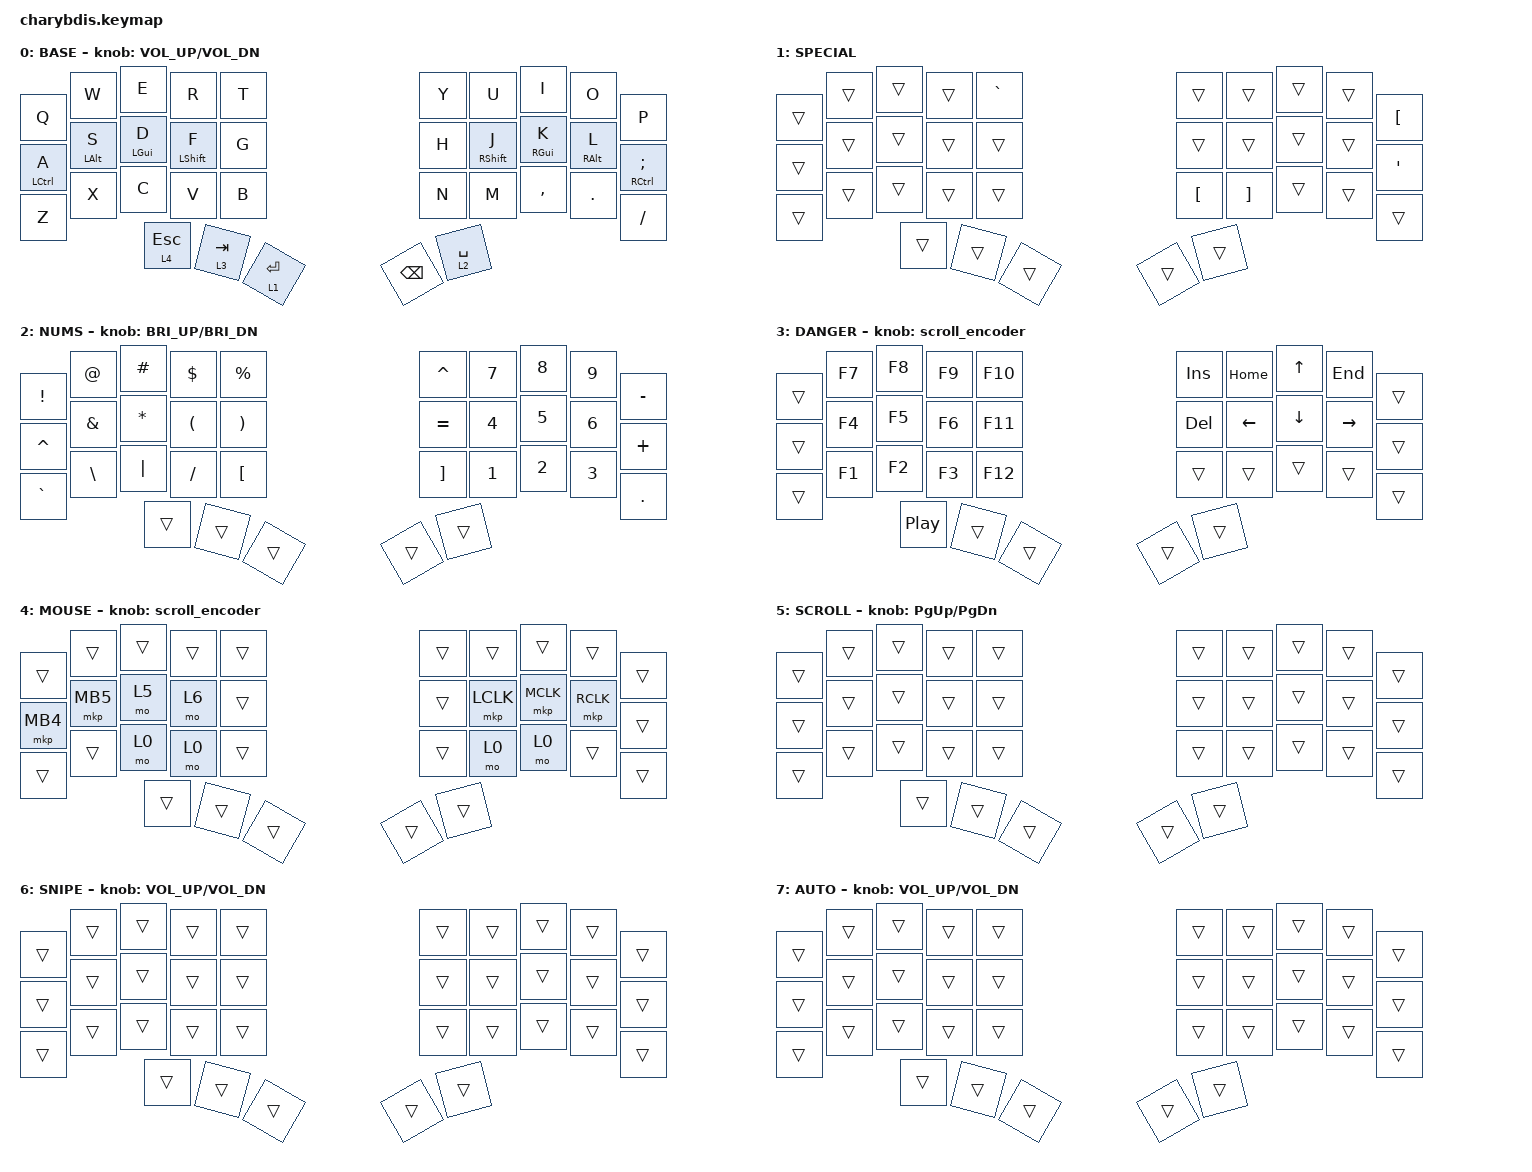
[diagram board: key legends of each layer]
#include <behaviors.dtsi>

#include <dt-bindings/zmk/bt.h>
#include <dt-bindings/zmk/keys.h>

#define ZMK_POINTING_DEFAULT_SCRL_VAL 150
#include <dt-bindings/zmk/pointing.h>

#include <dt-bindings/zmk/ext_power.h>
#include <dt-bindings/zmk/outputs.h>

#include "layers.h"

#include "behaviors.dtsi"
#include "zmk-helpers/key-labels/34.h"                                      // key-position labels
#include "combos.dtsi"

&lt {
    tapping-term-ms = <160>; // hold time before a layer-tap activates the layer instead of sending the tap key
};

/ {
    
    keymap {
        compatible = "zmk,keymap";

        BASE {
            display-name = "BASE";
            bindings = <
  &kp Q          &kp W         &kp E         &kp R          &kp T          &kp Y        &kp U          &kp I         &kp O         &kp P
  &hm_l LCTRL A  &hm_l LALT S  &hm_l LGUI D  &hm_l LSHFT F  &kp G          &kp H        &hm_r RSHFT J  &hm_r RGUI K  &hm_r RALT L  &hm_r RCTRL SEMI
  &kp Z          &kp X         &kp C         &kp V          &kp B          &kp N        &kp M          &kp COMMA     &kp DOT       &kp SLASH
                               &lt 4 ESCAPE  &lt 3 TAB      &lt 1 ENTER    &kp BACKSPACE &lt 2 SPACE
            >;

            sensor-bindings = <&inc_dec_kp C_VOL_UP C_VOL_DN>;
        };

        SPECIAL {
            bindings = <
  &trans  &trans  &trans  &trans  &kp GRAVE    &trans            &trans             &trans  &trans  &kp LEFT_BRACKET
  &trans  &trans  &trans  &trans  &trans       &trans            &trans             &trans  &trans  &kp SQT
  &trans  &trans  &trans  &trans  &trans       &kp LEFT_BRACKET  &kp RIGHT_BRACKET  &trans  &trans  &trans
                  &trans  &trans  &trans       &trans            &trans
            >;

            label = "SPECIAL";
        };

        NUMS {
            display-name = "NUMS";
            bindings = <
  &kp EXCL   &kp AT         &kp HASH      &kp DLLR              &kp PRCNT                &kp CARET          &kp NUMBER_7  &kp NUMBER_8  &kp NUMBER_9  &kp MINUS
  &kp CARET  &kp AMPERSAND  &kp ASTERISK  &kp LEFT_PARENTHESIS  &kp RIGHT_PARENTHESIS    &kp EQUAL          &kp NUMBER_4  &kp NUMBER_5  &kp NUMBER_6  &kp PLUS
  &kp GRAVE  &kp BACKSLASH  &kp PIPE      &kp SLASH             &kp LEFT_BRACKET         &kp RIGHT_BRACKET  &kp NUMBER_1  &kp NUMBER_2  &kp NUMBER_3  &kp PERIOD
                            &trans        &trans                &trans                   &trans             &trans
            >;

            sensor-bindings = <&inc_dec_kp C_BRI_UP C_BRI_DN>;
        };

        DANGER {
            display-name = "DANGER";
            bindings = <
  &trans  &kp F7  &kp F8    &kp F9  &kp F10    &kp INSERT  &kp HOME        &kp UP_ARROW  &kp END    &trans
  &trans  &kp F4  &kp F5    &kp F6  &kp F11    &kp DEL     &kp LEFT_ARROW  &kp DOWN      &kp RIGHT  &trans
  &trans  &kp F1  &kp F2    &kp F3  &kp F12    &trans      &trans          &trans        &trans     &trans
                  &kp C_PP  &trans  &trans     &trans      &trans
            >;

            sensor-bindings = <&scroll_encoder>;
        };

        MOUSE {
            display-name = "MOUSE";
            bindings = <
  &trans    &trans    &trans  &trans  &trans    &trans  &trans     &trans     &trans     &trans
  &mkp MB4  &mkp MB5  &mo 5   &mo 6   &trans    &trans  &mkp LCLK  &mkp MCLK  &mkp RCLK  &trans
  &trans    &trans    &mo 0   &mo 0   &trans    &trans  &mo 0      &mo 0      &trans     &trans
                      &trans  &trans  &trans    &trans  &trans
            >;

            sensor-bindings = <&scroll_encoder>;
        };

        SCROLL {
            display-name = "SCROLL";
            bindings = <
  &trans  &trans  &trans  &trans  &trans    &trans  &trans  &trans  &trans  &trans
  &trans  &trans  &trans  &trans  &trans    &trans  &trans  &trans  &trans  &trans
  &trans  &trans  &trans  &trans  &trans    &trans  &trans  &trans  &trans  &trans
                  &trans  &trans  &trans    &trans  &trans
            >;

            sensor-bindings = <&inc_dec_kp PG_UP PG_DN>;
        };

        SNIPE {
            display-name = "SNIPE";
            bindings = <
  &trans  &trans  &trans  &trans  &trans    &trans  &trans  &trans  &trans  &trans
  &trans  &trans  &trans  &trans  &trans    &trans  &trans  &trans  &trans  &trans
  &trans  &trans  &trans  &trans  &trans    &trans  &trans  &trans  &trans  &trans
                  &trans  &trans  &trans    &trans  &trans
            >;

            sensor-bindings = <&inc_dec_kp C_VOL_UP C_VOL_DN>;
        };

        AUTO {
            display-name = "AUTO";
            bindings = <
  &trans  &trans  &trans  &trans  &trans    &trans  &trans  &trans  &trans  &trans
  &trans  &trans  &trans  &trans  &trans    &trans  &trans  &trans  &trans  &trans
  &trans  &trans  &trans  &trans  &trans    &trans  &trans  &trans  &trans  &trans
                  &trans  &trans  &trans    &trans  &trans
            >;

            sensor-bindings = <&inc_dec_kp C_VOL_UP C_VOL_DN>;
        };
    };
};










